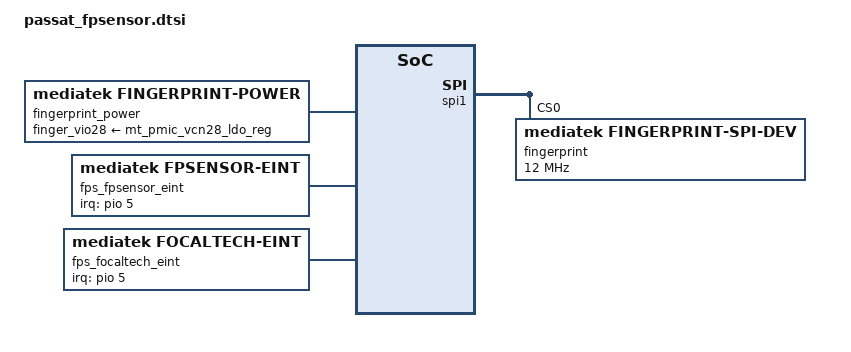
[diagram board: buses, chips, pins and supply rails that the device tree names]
/* Copyright (c) 2014, The Linux Foundation. All rights reserved.
*
* This program is free software; you can redistribute it and/or modify
* it under the terms of the GNU General Public License version 2 and
* only version 2 as published by the Free Software Foundation.
*
* This program is distributed in the hope that it will be useful,
* but WITHOUT ANY WARRANTY; without even the implied warranty of
* MERCHANTABILITY or FITNESS FOR A PARTICULAR PURPOSE.  See the
* GNU General Public License for more details.
*/


/*begin, fps, fingerprint config*/
&spi1{
	fingerprint@0 {
		compatible = "mediatek,fingerprint-spi-dev";
		reg = <0>;
		spi-max-frequency = <12000000>;
		netlink-event = <31>;
		status = "okay";
	};
};
&odm {
    fingerprint_pinctrl: fingerprint_pinctrl {
        compatible = "mediatek,fingerprint-pinctrl";
    };

    fingerprint_power: fingerprint_power {
        compatible = "mediatek,fingerprint-power";
        finger_vio28-supply = <&mt_pmic_vcn28_ldo_reg>;
	pinctrl_power = <1>;
	focaltech_info = "FT9391:FOCAL:Sunwin:AYB0000227C1";
	chipone_info = "ICNF7312:ICNF:A-KERR:AYB0000226C1";
    };
    fps_fpsensor_eint: fps_fpsensor_eint {
        compatible = "mediatek,fpsensor-eint";
        interrupt-parent = <&pio>;
        interrupts = <5 IRQ_TYPE_NONE 5 0>;
        debounce = <5 0>;
        status = "okay";
    };
    fps_focaltech_eint: fps_focaltech_eint {
        compatible = "mediatek,focaltech-eint";
        interrupt-parent = <&pio>;
        interrupts = <5 IRQ_TYPE_EDGE_RISING 5 0>;
        debounce = <5 0>;
        status = "okay";
    };
};

/*对应Pinctrl的所有GPIO口操作*/
&fingerprint_pinctrl{
    pinctrl-names = 
	"fpsensor_power_low", "fpsensor_power_high",
        "fpsensor_rst_low", "fpsensor_rst_high",
	"fpsensor_eint_low";
    pinctrl-0 = <&fpsensor_power_low>;
    pinctrl-1 = <&fpsensor_power_high>;
    pinctrl-2 = <&fpsensor_rst_low>;
    pinctrl-3 = <&fpsensor_rst_high>;
    pinctrl-4 = <&fpsensor_eint_low>;
    status = "okay";
};

&pio {
    fpsensor_power_low: fpsensor_power_low {
        pins_cmd_dat {
            pinmux = <PINMUX_GPIO150__FUNC_GPIO150>;
            slew-rate = <1>;
            output-low;
        };
    };
    fpsensor_power_high: fpsensor_power_high {
        pins_cmd_dat {
            pinmux = <PINMUX_GPIO150__FUNC_GPIO150>;
            slew-rate = <1>;
            output-high;
        };
    };
    fpsensor_rst_low: fpsensor_rst_low {
        pins_cmd_dat {
            pinmux = <PINMUX_GPIO14__FUNC_GPIO14>;
            slew-rate = <1>;
            output-low;
        };
    };
    fpsensor_rst_high: fpsensor_rst_high {
        pins_cmd_dat {
            pinmux = <PINMUX_GPIO14__FUNC_GPIO14>;
            slew-rate = <1>;
            output-high;
        };
    };
    fpsensor_eint_low: fpsensor_eint_low {
        pins_cmd_dat {
            pinmux = <PINMUX_GPIO5__FUNC_GPIO5>;
            slew-rate = <0>;
            //bias-disable;
            bias-pull-down = <00>;
        };
    };
};

/*end, fps, fingerprint config*/
